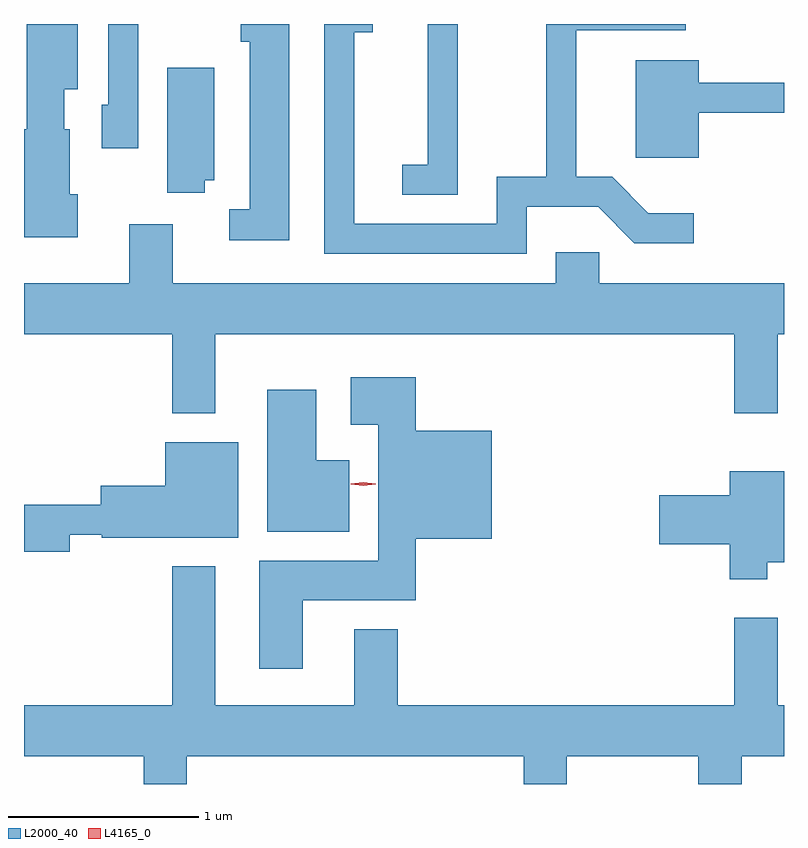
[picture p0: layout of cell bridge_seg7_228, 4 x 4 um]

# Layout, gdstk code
import gdstk
lib = gdstk.Library(unit=1e-6, precision=1e-09)
def P(c, l, *ps):  # polygons
    for p in ps: c.add(gdstk.Polygon(p, *l))
L2000_40 = (2000, 40)
L4165_0 = (4165, 0)

bridge_seg7_228 = lib.new_cell('bridge_seg7_228')
P(bridge_seg7_228, L2000_40, [(1667.814,1712.834),(1667.774,1712.834),(1667.774,1713.174),(1667.744,1713.174),(1667.744,1713.386),(1667.814,1713.386),(1667.814,1713.729),(1667.546,1713.729),(1667.546,1713.174),(1667.532,1713.174),(1667.532,1712.606),(1667.814,1712.606)],
  [(1668.929,1713.729),(1668.673,1713.729),(1668.673,1713.636),(1668.721,1713.636),(1668.721,1712.754),(1668.613,1712.754),(1668.613,1712.591),(1668.929,1712.591)],
  [(1670.179,1712.766),(1670.554,1712.766),(1670.744,1712.576),(1671.058,1712.576),(1671.058,1712.734),(1670.817,1712.734),(1670.627,1712.924),(1670.439,1712.924),(1670.439,1713.696),(1671.014,1713.696),(1671.014,1713.729),(1670.281,1713.729),(1670.281,1712.924),(1670.021,1712.924),(1670.021,1712.679),(1669.269,1712.679),(1669.269,1713.686),(1669.368,1713.686),(1669.368,1713.729),(1669.111,1713.729),(1669.111,1712.521),(1670.179,1712.521)],
  [(1669.814,1713.729),(1669.656,1713.729),(1669.656,1712.989),(1669.523,1712.989),(1669.523,1712.831),(1669.814,1712.831)],
  [(1668.134,1713.729),(1667.976,1713.729),(1667.976,1713.304),(1667.941,1713.304),(1667.941,1713.076),(1668.134,1713.076)],
  [(1671.084,1713.261),(1671.532,1713.261),(1671.532,1713.419),(1671.084,1713.419),(1671.084,1713.539),(1670.751,1713.539),(1670.751,1713.026),(1671.084,1713.026)],
  [(1668.484,1712.906),(1668.534,1712.906),(1668.534,1713.499),(1668.286,1713.499),(1668.286,1712.841),(1668.484,1712.841)],
  [(1668.539,1712.096),(1671.271,1712.096),(1671.271,1711.681),(1671.499,1711.681),(1671.499,1712.096),(1671.532,1712.096),(1671.532,1712.364),(1670.559,1712.364),(1670.559,1712.529),(1670.331,1712.529),(1670.331,1712.364),(1668.314,1712.364),(1668.314,1712.674),(1668.086,1712.674),(1668.086,1712.364),(1667.532,1712.364),(1667.532,1712.096),(1668.311,1712.096),(1668.311,1711.681),(1668.539,1711.681)],
  [(1668.999,1710.696),(1669.594,1710.696),(1669.594,1711.021),(1669.994,1711.021),(1669.994,1711.589),(1669.594,1711.589),(1669.594,1711.869),(1669.251,1711.869),(1669.251,1711.621),(1669.396,1711.621),(1669.396,1710.904),(1668.771,1710.904),(1668.771,1710.336),(1668.999,1710.336)],
  [(1669.244,1711.434),(1669.069,1711.434),(1669.069,1711.804),(1668.811,1711.804),(1668.811,1711.056),(1669.244,1711.056)],
  [(1667.774,1711.041),(1667.94,1711.041),(1667.94,1711.026),(1668.659,1711.026),(1668.659,1711.529),(1668.276,1711.529),(1668.276,1711.299),(1667.936,1711.299),(1667.936,1711.199),(1667.532,1711.199),(1667.532,1710.951),(1667.774,1710.951)],
  [(1671.444,1710.896),(1671.532,1710.896),(1671.532,1711.374),(1671.246,1711.374),(1671.246,1711.249),(1670.876,1711.249),(1670.876,1710.991),(1671.246,1710.991),(1671.246,1710.806),(1671.444,1710.806)],
  [(1670.161,1709.729),(1670.389,1709.729),(1670.389,1709.876),(1671.081,1709.876),(1671.081,1709.729),(1671.309,1709.729),(1671.309,1709.876),(1671.532,1709.876),(1671.532,1710.144),(1671.499,1710.144),(1671.499,1710.604),(1671.271,1710.604),(1671.271,1710.144),(1669.499,1710.144),(1669.499,1710.544),(1669.271,1710.544),(1669.271,1710.144),(1668.539,1710.144),(1668.539,1710.874),(1668.311,1710.874),(1668.311,1710.144),(1667.532,1710.144),(1667.532,1709.876),(1668.161,1709.876),(1668.161,1709.729),(1668.389,1709.729),(1668.389,1709.876),(1670.161,1709.876)])
P(bridge_seg7_228, L4165_0, [(1669.318,1711.298),(1669.252,1711.307),(1669.252,1711.308),(1669.252,1711.308),(1669.318,1711.318),(1669.384,1711.308),(1669.384,1711.308),(1669.384,1711.307)])

lib.write_gds('bridge_seg7_228.gds')
